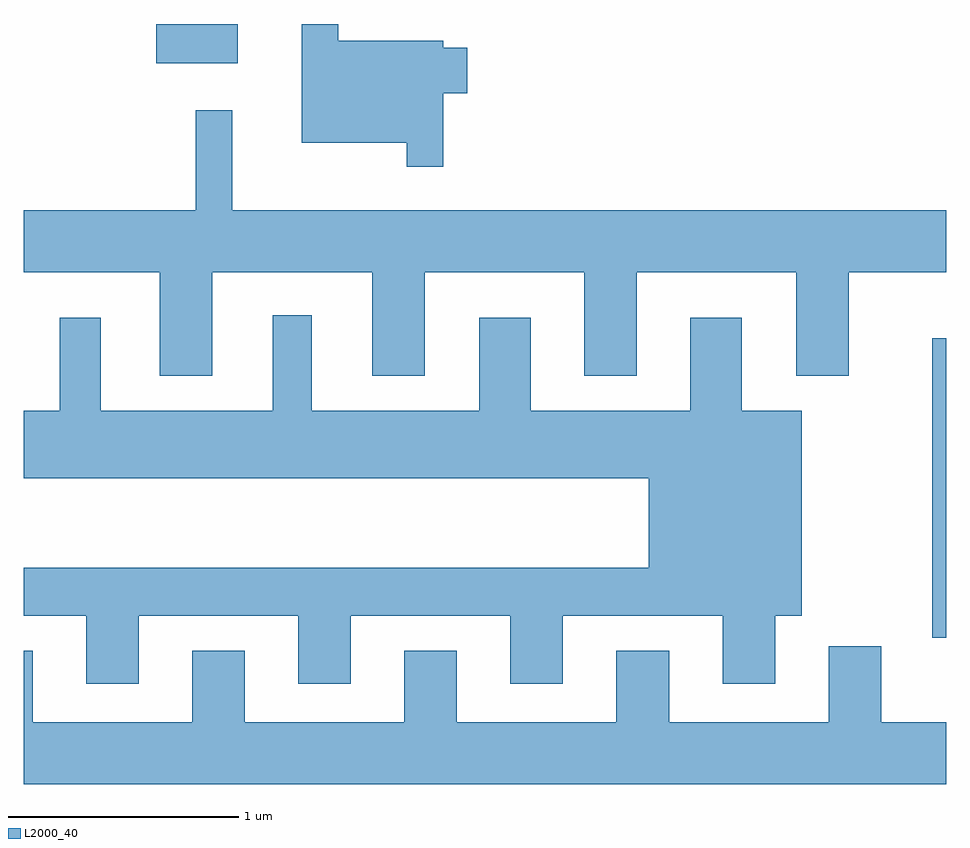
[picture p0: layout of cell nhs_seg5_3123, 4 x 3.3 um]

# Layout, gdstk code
import gdstk
lib = gdstk.Library(unit=1e-6, precision=1e-09)
def R(c, l, rs):  # rectangles x0, y0, x1, y1
    for r in rs: c.add(gdstk.rectangle(r[:2], r[2:], *l))
def P(c, l, *ps):  # polygons
    for p in ps: c.add(gdstk.Polygon(p, *l))
L2000_40 = (2000, 40)

nhs_seg5_3123 = lib.new_cell('nhs_seg5_3123')
R(nhs_seg5_3123, L2000_40, [(281.551,1477.411,281.611,1478.709), (278.186,1479.901,278.539,1480.072)])
P(nhs_seg5_3123, L2000_40, [(279.429,1479.771),(279.534,1479.771),(279.534,1479.969),(279.429,1479.969),(279.429,1479.999),(278.974,1479.999),(278.974,1480.072),(278.816,1480.072),(278.816,1479.556),(279.271,1479.556),(279.271,1479.453),(279.429,1479.453)],
  [(278.429,1478.996),(279.121,1478.996),(279.121,1478.546),(279.349,1478.546),(279.349,1478.996),(280.041,1478.996),(280.041,1478.546),(280.269,1478.546),(280.269,1478.996),(280.961,1478.996),(280.961,1478.546),(281.189,1478.546),(281.189,1478.996),(281.611,1478.996),(281.611,1479.264),(278.514,1479.264),(278.514,1479.698),(278.356,1479.698),(278.356,1479.264),(277.611,1479.264),(277.611,1478.996),(278.201,1478.996),(278.201,1478.546),(278.429,1478.546)],
  [(278.109,1477.506),(278.801,1477.506),(278.801,1477.211),(279.029,1477.211),(279.029,1477.506),(279.721,1477.506),(279.721,1477.211),(279.949,1477.211),(279.949,1477.506),(280.641,1477.506),(280.641,1477.211),(280.869,1477.211),(280.869,1477.506),(280.984,1477.506),(280.984,1478.394),(280.724,1478.394),(280.724,1478.799),(280.501,1478.799),(280.501,1478.394),(279.809,1478.394),(279.809,1478.799),(279.586,1478.799),(279.586,1478.394),(278.859,1478.394),(278.859,1478.808),(278.691,1478.808),(278.691,1478.394),(277.944,1478.394),(277.944,1478.799),(277.766,1478.799),(277.766,1478.394),(277.611,1478.394),(277.611,1478.101),(280.321,1478.101),(280.321,1477.714),(277.611,1477.714),(277.611,1477.506),(277.881,1477.506),(277.881,1477.211),(278.109,1477.211)],
  [(281.611,1477.044),(281.329,1477.044),(281.329,1477.374),(281.101,1477.374),(281.101,1477.044),(280.409,1477.044),(280.409,1477.354),(280.181,1477.354),(280.181,1477.044),(279.489,1477.044),(279.489,1477.354),(279.261,1477.354),(279.261,1477.044),(278.569,1477.044),(278.569,1477.354),(278.341,1477.354),(278.341,1477.044),(277.649,1477.044),(277.649,1477.354),(277.611,1477.354),(277.611,1476.776),(281.611,1476.776)])

lib.write_gds('nhs_seg5_3123.gds')
